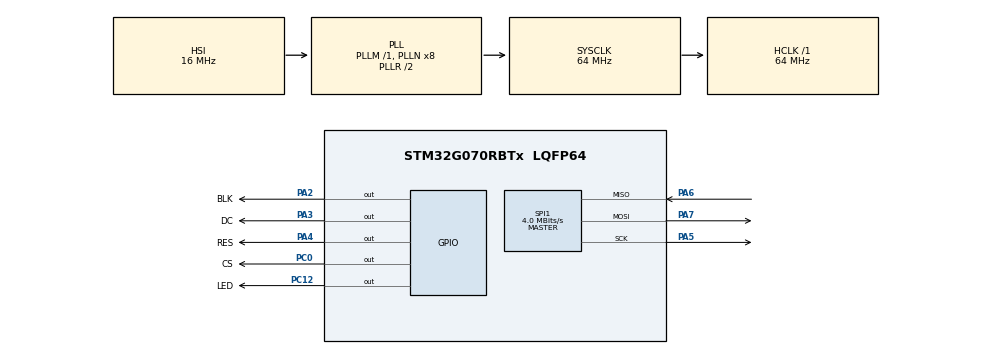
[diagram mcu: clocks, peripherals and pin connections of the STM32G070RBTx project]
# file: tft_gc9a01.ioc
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Mcu.Family=STM32G0
Mcu.Name=STM32G070RBTx
Mcu.Package=LQFP64
PA13.Mode=Serial_Wire
PA13.Signal=SYS_SWDIO
PA14-BOOT0.Mode=Serial_Wire
PA14-BOOT0.Signal=SYS_SWCLK
PA2.GPIO_Label=BLK
PA2.GPIO_ModeDefaultOutputPP=GPIO_MODE_OUTPUT_PP
PA2.GPIO_Speed=GPIO_SPEED_FREQ_MEDIUM
PA2.PinState=GPIO_PIN_SET
PA2.Signal=GPIO_Output
PA3.GPIO_Label=DC
PA3.GPIO_ModeDefaultOutputPP=GPIO_MODE_OUTPUT_PP
PA3.GPIO_Speed=GPIO_SPEED_FREQ_MEDIUM
PA3.PinState=GPIO_PIN_SET
PA3.Signal=GPIO_Output
PA4.GPIO_Label=RES
PA4.GPIO_ModeDefaultOutputPP=GPIO_MODE_OUTPUT_PP
PA4.GPIO_Speed=GPIO_SPEED_FREQ_MEDIUM
PA4.PinState=GPIO_PIN_SET
PA4.Signal=GPIO_Output
PA5.Mode=Full_Duplex_Master
PA5.Signal=SPI1_SCK
PA6.Mode=Full_Duplex_Master
PA6.Signal=SPI1_MISO
PA7.Mode=Full_Duplex_Master
PA7.Signal=SPI1_MOSI
PC0.GPIO_Label=CS
PC0.GPIO_ModeDefaultOutputPP=GPIO_MODE_OUTPUT_PP
PC0.GPIO_Speed=GPIO_SPEED_FREQ_MEDIUM
PC0.PinState=GPIO_PIN_SET
PC0.Signal=GPIO_Output
PC12.GPIO_Label=LED
PC12.Signal=GPIO_Output
ProjectManager.HeapSize=0x200
ProjectManager.StackSize=0x400
ProjectManager.TargetToolchain=CMake
RCC.ADCFreq_Value=64000000
RCC.AHBFreq_Value=64000000
RCC.CortexFreq_Value=64000000
RCC.EXTERNAL_CLOCK_VALUE=48000
RCC.HCLKFreq_Value=64000000
RCC.HSE_VALUE=8000000
RCC.HSI_VALUE=16000000
RCC.LSE_VALUE=32768
RCC.SYSCLKFreq_VALUE=64000000
RCC.SYSCLKSource=RCC_SYSCLKSOURCE_PLLCLK
RCC.VCOOutputFreq_Value=128000000
SPI1.BaudRatePrescaler=SPI_BAUDRATEPRESCALER_16
SPI1.CalculateBaudRate=4.0 MBits/s
SPI1.DataSize=SPI_DATASIZE_8BIT
SPI1.Direction=SPI_DIRECTION_2LINES
SPI1.Mode=SPI_MODE_MASTER
SPI1.VirtualType=VM_MASTER
board=custom

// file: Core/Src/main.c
/* USER CODE BEGIN Header */
/**
 ******************************************************************************
 * @file           : main.c
 * @brief          : Main program body
 ******************************************************************************
 * @attention
 *
 * Copyright (c) 2025 STMicroelectronics.
 * All rights reserved.
 *
 * This software is licensed under terms that can be found in the LICENSE file
 * in the root directory of this software component.
 * If no LICENSE file comes with this software, it is provided AS-IS.
 *
 ******************************************************************************
 */
/* USER CODE END Header */
#include "main.h"
#include "spi.h"
#include "gpio.h"

/* USER CODE BEGIN Includes */
#include "log.h"
#include "gc9a01.h"

/* USER CODE END Includes */

void SystemClock_Config(void);

int main(void)
{

    /* MCU Configuration--------------------------------------------------------*/

    /* Reset of all peripherals, Initializes the Flash interface and the Systick. */
    HAL_Init();

    /* Configure the system clock */
    SystemClock_Config();

    /* Initialize all configured peripherals */
    MX_GPIO_Init();
    MX_SPI1_Init();
    /* USER CODE BEGIN 2 */

    log_init(LOG_TRACE, false);

    log_debug("init.");

    gc9a01_init();

    gc9a01_fill_rect(0, 0, TFT_WIDTH, TFT_HEIGHT, BLACK);
    gc9a01_fill_rect(TFT_WIDTH / 4, TFT_HEIGHT / 4, TFT_WIDTH / 2, TFT_HEIGHT / 2, BRRED);

    for (uint16_t x = 0; x < 240; x++)
    {
        gc9a01_draw_pixel(x, x, GREEN);
    }
    for (uint16_t y = 0; y < 240; y++)
    {
        gc9a01_draw_pixel(y, 240 - y, BLUE);
    }

    /* USER CODE END 2 */

    /* Infinite loop */
    while (1)
    {

        /* USER CODE BEGIN 3 */
        HAL_GPIO_WritePin(LED_GPIO_Port, LED_Pin, GPIO_PIN_RESET);
        HAL_Delay(300);
        HAL_GPIO_WritePin(LED_GPIO_Port, LED_Pin, GPIO_PIN_SET);
        HAL_Delay(300);
    }
    /* USER CODE END 3 */
}

void SystemClock_Config(void)
{
    RCC_OscInitTypeDef RCC_OscInitStruct = {0};
    RCC_ClkInitTypeDef RCC_ClkInitStruct = {0};

    /** Configure the main internal regulator output voltage
     */
    HAL_PWREx_ControlVoltageScaling(PWR_REGULATOR_VOLTAGE_SCALE1);

    /** Initializes the RCC Oscillators according to the specified parameters
     * in the RCC_OscInitTypeDef structure.
     */
    RCC_OscInitStruct.OscillatorType = RCC_OSCILLATORTYPE_HSI;
    RCC_OscInitStruct.HSIState = RCC_HSI_ON;
    RCC_OscInitStruct.HSIDiv = RCC_HSI_DIV1;
    RCC_OscInitStruct.HSICalibrationValue = RCC_HSICALIBRATION_DEFAULT;
    RCC_OscInitStruct.PLL.PLLState = RCC_PLL_ON;
    RCC_OscInitStruct.PLL.PLLSource = RCC_PLLSOURCE_HSI;
    RCC_OscInitStruct.PLL.PLLM = RCC_PLLM_DIV1;
    RCC_OscInitStruct.PLL.PLLN = 8;
    RCC_OscInitStruct.PLL.PLLP = RCC_PLLP_DIV2;
    RCC_OscInitStruct.PLL.PLLR = RCC_PLLR_DIV2;
    if (HAL_RCC_OscConfig(&RCC_OscInitStruct) != HAL_OK)
    {
        Error_Handler();
    }

    /** Initializes the CPU, AHB and APB buses clocks
     */
    RCC_ClkInitStruct.ClockType = RCC_CLOCKTYPE_HCLK | RCC_CLOCKTYPE_SYSCLK | RCC_CLOCKTYPE_PCLK1;
    RCC_ClkInitStruct.SYSCLKSource = RCC_SYSCLKSOURCE_PLLCLK;
    RCC_ClkInitStruct.AHBCLKDivider = RCC_SYSCLK_DIV1;
    RCC_ClkInitStruct.APB1CLKDivider = RCC_HCLK_DIV1;

    if (HAL_RCC_ClockConfig(&RCC_ClkInitStruct, FLASH_LATENCY_2) != HAL_OK)
    {
        Error_Handler();
    }
}

void Error_Handler(void)
{
    __disable_irq();
    while (1)
    {
    }
}

#ifdef USE_FULL_ASSERT
/**
 * @brief  Reports the name of the source file and the source line number
 *         where the assert_param error has occurred.
 * @param  file: pointer to the source file name
 * @param  line: assert_param error line source number
 * @retval None
 */
void assert_failed(uint8_t *file, uint32_t line)
{
    /* USER CODE BEGIN 6 */
    /* User can add his own implementation to report the file name and line
       number, ex: printf("Wrong parameters value: file %s on line %d\r\n", file,
       line) */
    /* USER CODE END 6 */
}
#endif /* USE_FULL_ASSERT */
